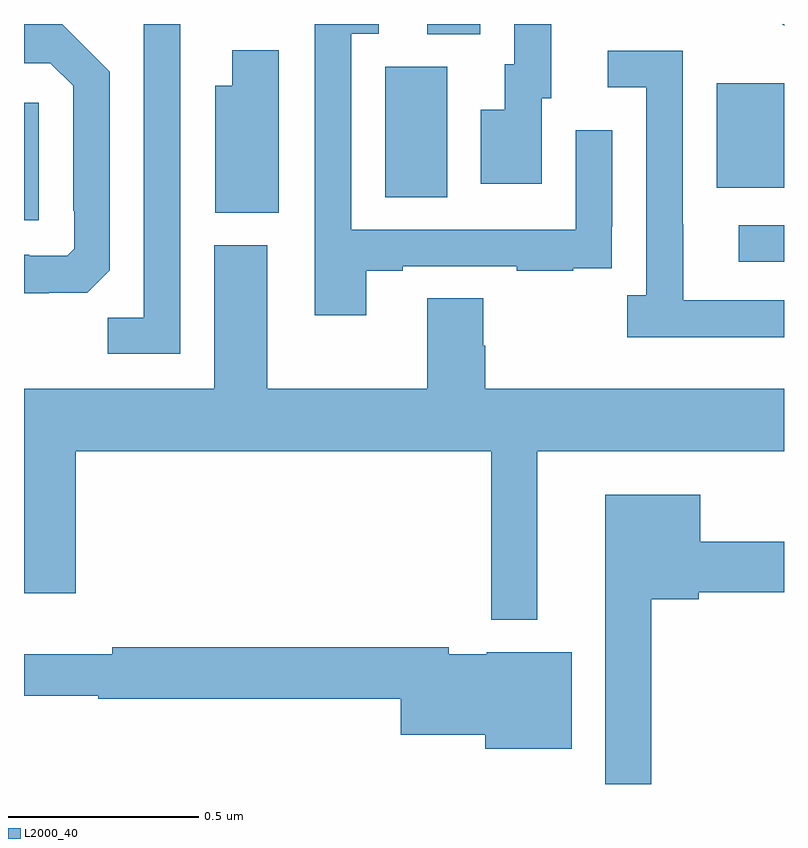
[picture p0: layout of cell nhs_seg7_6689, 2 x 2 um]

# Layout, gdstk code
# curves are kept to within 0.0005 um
import gdstk
lib = gdstk.Library(unit=1e-6, precision=1e-09)
def R(c, l, rs):  # rectangles x0, y0, x1, y1
    for r in rs: c.add(gdstk.rectangle(r[:2], r[2:], *l))
def P(c, l, *ps):  # polygons
    for p in ps: c.add(gdstk.Polygon(p, *l))
L2000_40 = (2000, 40)

nhs_seg7_6689 = lib.new_cell('nhs_seg7_6689')
R(nhs_seg7_6689, L2000_40, [(202.881,1074.375,203,1074.471), (201,1074.483,201.039,1074.793), (201.95,1074.544,202.114,1074.888), (202.823,1074.569,203,1074.844), (202.061,1074.973,202.201,1075)])
P(nhs_seg7_6689, L2000_40, [(201.065,1074.293),(201.166,1074.293),(201.225,1074.352),(201.225,1074.874),(201.1,1075),(201,1075),(201,1074.897),(201.069,1074.897),(201.129,1074.837),(201.129,1074.508),(201.132,1074.508),(201.132,1074.408),(201.114,1074.39),(201.014,1074.39),(201.014,1074.393),(201,1074.393),(201,1074.292),(201.065,1074.292)],
  [(201.411,1075),(201.315,1075),(201.315,1074.227),(201.22,1074.227),(201.22,1074.132),(201.411,1074.132)],
  [(201.901,1074.351),(201.997,1074.351),(201.997,1074.363),(202.297,1074.363),(202.297,1074.351),(202.445,1074.351),(202.445,1074.357),(202.547,1074.357),(202.547,1074.466),(202.548,1074.466),(202.548,1074.721),(202.452,1074.721),(202.452,1074.459),(201.861,1074.459),(201.861,1074.975),(201.934,1074.975),(201.934,1075),(201.765,1075),(201.765,1074.234),(201.901,1074.234)],
  [(203,1075),(202.995,1075),(203,1074.995)],
  [(202.363,1074.804),(202.387,1074.804),(202.387,1075),(202.29,1075),(202.29,1074.894),(202.265,1074.894),(202.265,1074.775),(202.202,1074.775),(202.202,1074.579),(202.363,1074.579)],
  [(201.67,1074.931),(201.548,1074.931),(201.548,1074.838),(201.503,1074.838),(201.503,1074.503),(201.67,1074.503)],
  [(203,1074.273),(202.735,1074.273),(202.735,1074.473),(202.734,1074.473),(202.734,1074.93),(202.536,1074.93),(202.536,1074.834),(202.638,1074.834),(202.638,1074.286),(202.587,1074.286),(202.587,1074.176),(203,1074.176)],
  [(202.351,1073.876),(203,1073.876),(203,1074.04),(202.214,1074.04),(202.214,1074.153),(202.209,1074.153),(202.209,1074.278),(202.061,1074.278),(202.061,1074.04),(201.64,1074.04),(201.64,1074.418),(201.5,1074.418),(201.5,1074.04),(201,1074.04),(201,1073.502),(201.136,1073.502),(201.136,1073.876),(202.23,1073.876),(202.23,1073.432),(202.351,1073.432)],
  [(202.651,1073.486),(202.776,1073.486),(202.776,1073.504),(203,1073.504),(203,1073.638),(202.78,1073.638),(202.78,1073.761),(202.529,1073.761),(202.529,1073),(202.651,1073)],
  [(202.441,1073.347),(202.218,1073.347),(202.218,1073.341),(202.118,1073.341),(202.118,1073.36),(201.232,1073.36),(201.232,1073.341),(201,1073.341),(201,1073.232),(201.196,1073.232),(201.196,1073.224),(201.992,1073.224),(201.992,1073.129),(202.214,1073.129),(202.214,1073.093),(202.441,1073.093)])

lib.write_gds('nhs_seg7_6689.gds')
